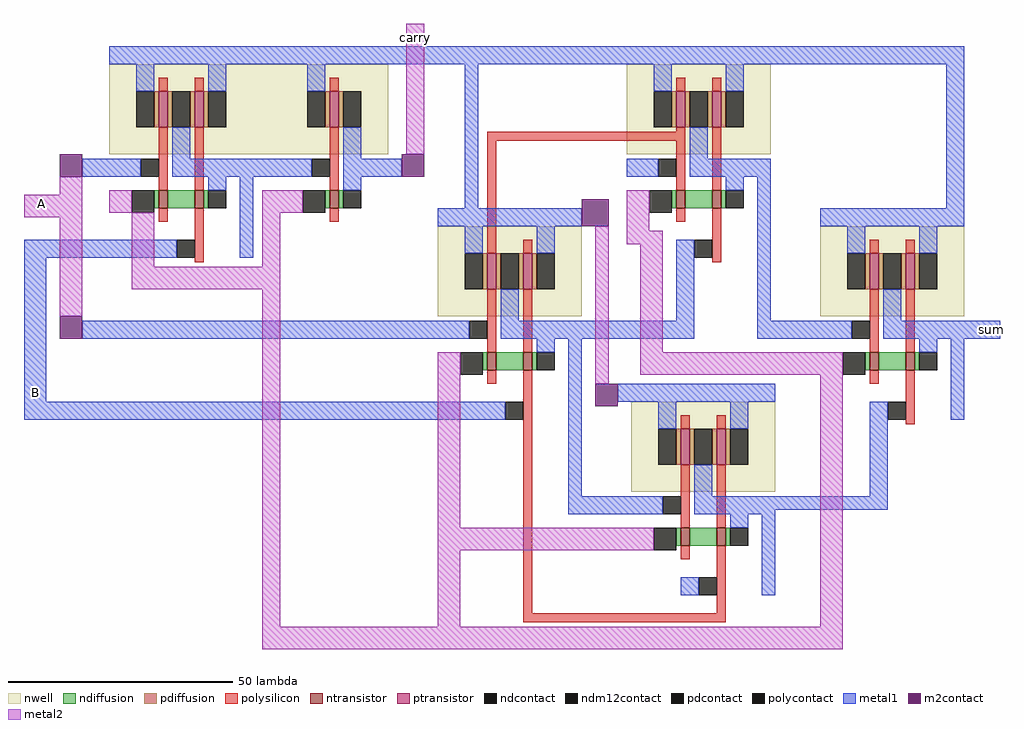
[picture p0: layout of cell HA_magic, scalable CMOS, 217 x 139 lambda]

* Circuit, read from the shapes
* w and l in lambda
.subckt HA_magic A B GND VDD carry sum
M1 n1 A GND VSUBS nfet w=4 l=2
M2 AND_magic_0/NOT_magic_0/in B n1 VSUBS nfet w=4 l=2
M3 carry AND_magic_0/NOT_magic_0/in GND VSUBS nfet w=4 l=2
M4 n2 A GND VSUBS nfet w=4 l=2
M5 XOR_magic_0/NAND_magic_3/A B n2 VSUBS nfet w=4 l=2
M6 n3 A GND VSUBS nfet w=4 l=2
M7 n4 XOR_magic_0/NAND_magic_3/A GND VSUBS nfet w=4 l=2
M8 XOR_magic_0/NAND_magic_2/A XOR_magic_0/NAND_magic_3/A n3 VSUBS nfet w=4 l=2
M9 XOR_magic_0/NAND_magic_2/B B n4 VSUBS nfet w=4 l=2
M10 n5 XOR_magic_0/NAND_magic_2/A GND VSUBS nfet w=4 l=2
M11 sum XOR_magic_0/NAND_magic_2/B n5 VSUBS nfet w=4 l=2
M12 AND_magic_0/NOT_magic_0/in A VDD n6 pfet w=8 l=2
M13 VDD B AND_magic_0/NOT_magic_0/in n6 pfet w=8 l=2
M14 carry AND_magic_0/NOT_magic_0/in VDD n6 pfet w=8 l=2
M15 XOR_magic_0/NAND_magic_3/A A VDD n7 pfet w=8 l=2
M16 VDD B XOR_magic_0/NAND_magic_3/A n7 pfet w=8 l=2
M17 XOR_magic_0/NAND_magic_2/A A VDD n8 pfet w=8 l=2
M18 XOR_magic_0/NAND_magic_2/B XOR_magic_0/NAND_magic_3/A VDD n9 pfet w=8 l=2
M19 VDD XOR_magic_0/NAND_magic_3/A XOR_magic_0/NAND_magic_2/A n8 pfet w=8 l=2
M20 VDD B XOR_magic_0/NAND_magic_2/B n9 pfet w=8 l=2
M21 sum XOR_magic_0/NAND_magic_2/A VDD n10 pfet w=8 l=2
M22 VDD XOR_magic_0/NAND_magic_2/B sum n10 pfet w=8 l=2
.ends

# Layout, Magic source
magic
tech scmos
<< metal1 >>
rect 118 120 136 124
rect 50 95 53 99
rect 37 77 53 81
rect 37 45 42 77
rect 50 59 122 63
rect 250 59 254 63
rect 37 41 122 45
<< m2contact >>
rect 45 95 50 100
rect 121 95 126 100
rect 45 59 50 64
<< metal2 >>
rect 122 100 126 129
rect 45 91 50 95
rect 37 86 50 91
rect 45 64 50 86
rect 90 -5 94 71
rect 90 -10 134 -5
use XOR_magic  XOR_magic_0
transform 1 0 122 0 1 53
box 0 -63 128 71
use AND_magic  AND_magic_0
transform 1 0 56 0 1 81
box -3 -11 65 43
<< labels >>
rlabel metal1 39 47 40 47 3 B
rlabel metal2 41 89 41 89 3 A
rlabel metal1 252 61 252 61 7 sum
rlabel metal2 124 126 124 126 5 carry
<< end >>

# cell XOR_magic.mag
magic
tech scmos
<< polysilicon >>
rect 18 50 62 52
rect 18 26 20 50
rect 26 -55 28 -12
rect 69 -55 71 -51
rect 26 -57 71 -55
<< metal1 >>
rect 13 67 49 71
rect 81 67 124 71
rect 13 35 16 67
rect 120 35 124 67
rect 60 10 64 24
rect 0 6 7 10
rect 38 6 64 10
rect 78 10 81 24
rect 78 6 92 10
rect 124 6 128 10
rect 0 -12 18 -8
rect 47 -8 53 -4
rect 36 -29 39 -12
rect 103 -29 107 -12
rect 36 -33 50 -29
rect 82 -32 107 -29
<< m2contact >>
rect 39 31 45 37
rect 42 -9 47 -4
<< metal2 >>
rect 7 -36 12 -2
rect 42 -4 45 31
rect 49 30 54 34
rect 49 27 57 30
rect 52 3 57 27
rect 52 -2 92 3
rect 7 -41 50 -36
rect 7 -58 12 -41
rect 92 -58 97 -2
rect 7 -63 97 -58
use NAND_magic  NAND_magic_3
transform 1 0 50 0 1 -28
box 0 -24 32 24
use NAND_magic  NAND_magic_2
transform 1 0 92 0 1 11
box 0 -24 32 24
use NAND_magic  NAND_magic_1
transform 1 0 49 0 1 47
box 0 -24 32 24
use NAND_magic  NAND_magic_0
transform 1 0 7 0 1 11
box 0 -24 32 24
<< labels >>
rlabel metal1 3 8 3 8 3 A
rlabel metal1 3 -10 3 -10 3 B
rlabel metal1 126 8 126 8 7 out
<< end >>

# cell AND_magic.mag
magic
tech scmos
<< nwell >>
rect 32 19 38 39
<< metal1 >>
rect 32 39 38 43
rect -3 14 0 18
rect 32 14 38 18
rect 62 14 65 18
rect -3 -4 11 0
<< metal2 >>
rect 5 -6 10 6
rect 34 -6 38 11
rect 5 -11 38 -6
use NOT_magic  NOT_magic_0
transform 1 0 38 0 1 19
box 0 -15 24 24
use NAND_magic  NAND_magic_0
transform 1 0 0 0 1 19
box 0 -24 32 24
<< labels >>
rlabel metal1 -2 15 -2 15 3 A
rlabel metal1 -2 -2 -2 -2 3 B
rlabel metal1 63 16 63 16 7 out
<< end >>

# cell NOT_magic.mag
magic
tech scmos
<< nwell >>
rect 0 0 24 20
<< ntransistor >>
rect 11 -12 13 -8
<< ptransistor >>
rect 11 6 13 14
<< ndiffusion >>
rect 10 -12 11 -8
rect 13 -12 14 -8
<< pdiffusion >>
rect 10 6 11 14
rect 13 6 14 14
<< ndcontact >>
rect 14 -12 18 -8
<< pdcontact >>
rect 6 6 10 14
rect 14 6 18 14
<< polysilicon >>
rect 11 14 13 17
rect 11 -8 13 6
rect 11 -15 13 -12
<< polycontact >>
rect 7 -5 11 -1
<< metal1 >>
rect 0 20 24 24
rect 6 14 10 20
rect 14 -1 18 6
rect 0 -5 7 -1
rect 14 -5 24 -1
rect 14 -8 18 -5
<< ndm12contact >>
rect 5 -13 10 -8
<< metal2 >>
rect 0 -13 5 -8
<< labels >>
rlabel metal1 0 20 24 24 5 VDD
rlabel metal2 0 -13 5 -8 2 GND
rlabel metal1 21 -3 21 -3 7 out
rlabel metal1 3 -3 3 -3 3 in
<< end >>

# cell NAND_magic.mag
magic
tech scmos
<< nwell >>
rect 0 0 32 20
<< ntransistor >>
rect 11 -12 13 -8
rect 19 -12 21 -8
<< ptransistor >>
rect 11 6 13 14
rect 19 6 21 14
<< ndiffusion >>
rect 10 -12 11 -8
rect 13 -12 19 -8
rect 21 -12 22 -8
<< pdiffusion >>
rect 10 6 11 14
rect 13 6 14 14
rect 18 6 19 14
rect 21 6 22 14
<< ndcontact >>
rect 22 -12 26 -8
<< pdcontact >>
rect 6 6 10 14
rect 14 6 18 14
rect 22 6 26 14
<< polysilicon >>
rect 11 14 13 17
rect 19 14 21 17
rect 11 -8 13 6
rect 19 -8 21 6
rect 11 -15 13 -12
rect 19 -24 21 -12
<< polycontact >>
rect 7 -5 11 -1
rect 15 -23 19 -19
<< metal1 >>
rect 0 20 32 24
rect 6 14 10 20
rect 22 14 26 20
rect 14 -1 18 6
rect 0 -5 7 -1
rect 14 -5 32 -1
rect 22 -8 26 -5
rect 11 -23 15 -19
rect 29 -23 32 -5
<< ndm12contact >>
rect 5 -13 10 -8
<< metal2 >>
rect 0 -13 5 -8
<< labels >>
rlabel metal1 0 20 32 24 5 VDD
rlabel metal2 0 -13 5 -8 3 GND
rlabel metal1 3 -3 3 -3 3 A
rlabel metal1 13 -21 13 -21 1 B
rlabel metal1 31 -21 31 -21 7 out
<< end >>
